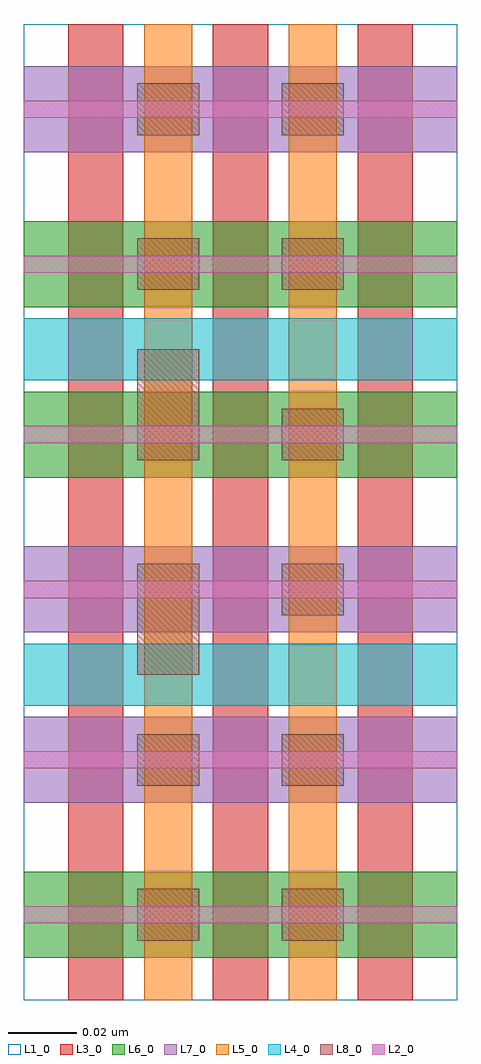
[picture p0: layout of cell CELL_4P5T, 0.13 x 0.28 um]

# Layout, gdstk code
import gdstk
lib = gdstk.Library(unit=1e-6, precision=1e-11)
def R(c, l, rs):  # rectangles x0, y0, x1, y1
    for r in rs: c.add(gdstk.rectangle(r[:2], r[2:], *l))
def A(c, l, x, y, w, h, nx, ny, dx, dy):  # array of equal rectangles
    R(c, l, [(x+i*dx, y+j*dy, x+i*dx+w, y+j*dy+h) for i in range(nx) for j in range(ny)])
L1_0 = (1, 0)
L2_0 = (2, 0)
L3_0 = (3, 0)
L4_0 = (4, 0)
L5_0 = (5, 0)
L6_0 = (6, 0)
L7_0 = (7, 0)
L8_0 = (8, 0)

cell_4p5t = lib.new_cell('CELL_4P5T')
R(cell_4p5t, L1_0, [(0,0,0.126,0.2835)])
R(cell_4p5t, L2_0, [(0,0.0223,0.126,0.0273), (0,0.0673,0.126,0.0723), (0,0.1168,0.126,0.1218), (0,0.1618,0.126,0.1668), (0,0.2113,0.126,0.2163), (0,0.2563,0.126,0.2613)])
A(cell_4p5t, L3_0, 0.013, 0, 0.016, 0.2835, 3, 1, 0.042, 0)
R(cell_4p5t, L4_0, [(0,0.0855,0.126,0.1035), (0,0.18,0.126,0.198)])
R(cell_4p5t, L5_0, [(0.035,0,0.049,0.2835), (0.077,0,0.091,0.2835)])
R(cell_4p5t, L6_0, [(0,0.0123,0.126,0.0373), (0,0.1518,0.126,0.1768), (0,0.2013,0.126,0.2263)])
R(cell_4p5t, L7_0, [(0,0.0573,0.126,0.0823), (0,0.1068,0.126,0.1318), (0,0.2463,0.126,0.2713)])
R(cell_4p5t, L8_0, [(0.033,0.0173,0.051,0.0323), (0.075,0.0173,0.093,0.0323), (0.033,0.0623,0.051,0.0773), (0.075,0.0623,0.093,0.0773), (0.033,0.0945,0.051,0.1268), (0.075,0.1118,0.093,0.1268), (0.033,0.1568,0.051,0.189), (0.075,0.1568,0.093,0.1718), (0.033,0.2063,0.051,0.2213), (0.075,0.2063,0.093,0.2213), (0.033,0.2513,0.051,0.2663), (0.075,0.2513,0.093,0.2663)])

lib.write_gds('CELL_4P5T.gds')
